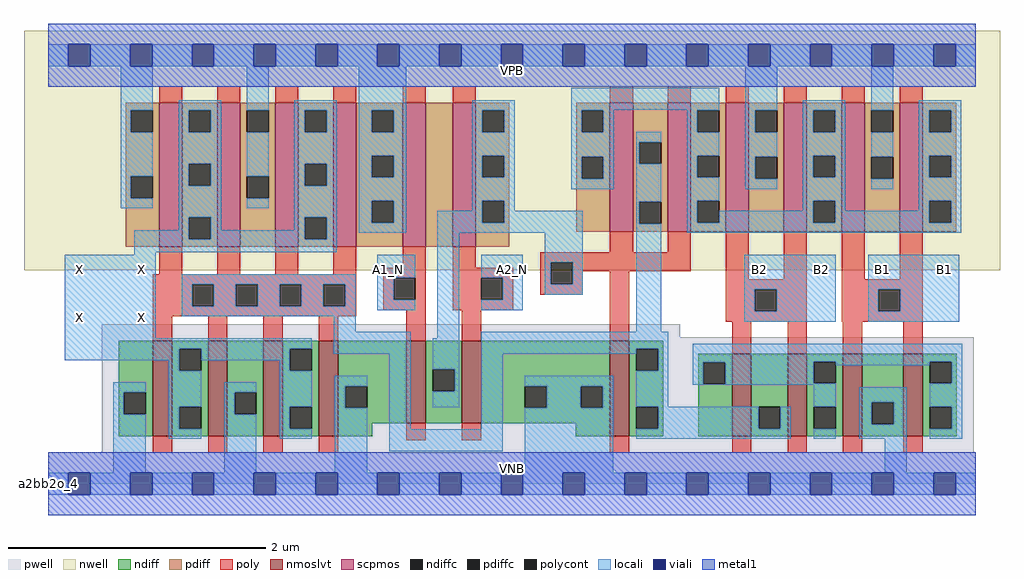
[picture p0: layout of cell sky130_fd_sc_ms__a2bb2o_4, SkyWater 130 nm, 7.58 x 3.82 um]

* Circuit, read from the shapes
.subckt sky130_fd_sc_ms__a2bb2o_4 A1_N A2_N B1 B2 VGND VNB VPB VPWR X
XM1 X n1 VGND VNB sky130_fd_pr__nfet_01v8_lvt w=0.74 l=0.15 m=4
XM2 n2 A1_N VGND VNB sky130_fd_pr__nfet_01v8_lvt w=0.64 l=0.15
XM3 VGND A2_N n2 VNB sky130_fd_pr__nfet_01v8_lvt w=0.64 l=0.15
XM4 n1 n2 VGND VNB sky130_fd_pr__nfet_01v8_lvt w=0.74 l=0.15
XM5 n1 B2 n3 VNB sky130_fd_pr__nfet_01v8_lvt w=0.64 l=0.15 m=2
XM6 VGND B1 n3 VNB sky130_fd_pr__nfet_01v8_lvt w=0.64 l=0.15 m=2
XM7 X n1 VPWR VPB sky130_fd_pr__pfet_01v8 w=1.12 l=0.18 m=4
XM8 n4 A1_N VPWR VPB sky130_fd_pr__pfet_01v8 w=1.12 l=0.18
XM9 n2 A2_N n4 VPB sky130_fd_pr__pfet_01v8 w=1.12 l=0.18
XM10 n1 n2 n5 VPB sky130_fd_pr__pfet_01v8 w=1 l=0.18 m=2
XM11 VPWR B2 n5 VPB sky130_fd_pr__pfet_01v8 w=1 l=0.18 m=2
XM12 VPWR B1 n5 VPB sky130_fd_pr__pfet_01v8 w=1 l=0.18 m=2
.ends

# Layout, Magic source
magic
tech sky130A
magscale 1 2
<< nwell >>
rect -38 332 1478 704
<< pwell >>
rect 83 228 981 248
rect 83 49 1437 228
rect 0 0 1440 49
<< scpmos >>
rect 172 368 208 592
rect 262 368 298 592
rect 352 368 388 592
rect 442 368 478 592
rect 550 368 586 592
rect 628 368 664 592
rect 872 392 908 592
rect 962 392 998 592
rect 1052 392 1088 592
rect 1142 392 1178 592
rect 1232 392 1268 592
rect 1322 392 1358 592
<< nmoslvt >>
rect 162 74 192 222
rect 248 74 278 222
rect 334 74 364 222
rect 420 74 450 222
rect 556 94 586 222
rect 642 94 672 222
rect 872 74 902 222
rect 1062 74 1092 202
rect 1148 74 1178 202
rect 1234 74 1264 202
rect 1328 74 1358 202
<< ndiff >>
rect 109 142 162 222
rect 109 108 117 142
rect 151 108 162 142
rect 109 74 162 108
rect 192 210 248 222
rect 192 176 203 210
rect 237 176 248 210
rect 192 120 248 176
rect 192 86 203 120
rect 237 86 248 120
rect 192 74 248 86
rect 278 142 334 222
rect 278 108 289 142
rect 323 108 334 142
rect 278 74 334 108
rect 364 210 420 222
rect 364 176 375 210
rect 409 176 420 210
rect 364 120 420 176
rect 364 86 375 120
rect 409 86 420 120
rect 364 74 420 86
rect 450 152 556 222
rect 450 118 461 152
rect 495 118 556 152
rect 450 94 556 118
rect 586 178 642 222
rect 586 144 597 178
rect 631 144 642 178
rect 586 94 642 144
rect 672 152 872 222
rect 672 118 740 152
rect 774 118 827 152
rect 861 118 872 152
rect 672 94 872 118
rect 450 74 503 94
rect 819 74 872 94
rect 902 210 955 222
rect 902 176 913 210
rect 947 176 955 210
rect 902 120 955 176
rect 902 86 913 120
rect 947 86 955 120
rect 902 74 955 86
rect 1009 189 1062 202
rect 1009 155 1017 189
rect 1051 155 1062 189
rect 1009 74 1062 155
rect 1092 120 1148 202
rect 1092 86 1103 120
rect 1137 86 1148 120
rect 1092 74 1148 86
rect 1178 190 1234 202
rect 1178 156 1189 190
rect 1223 156 1234 190
rect 1178 120 1234 156
rect 1178 86 1189 120
rect 1223 86 1234 120
rect 1178 74 1234 86
rect 1264 127 1328 202
rect 1264 93 1279 127
rect 1313 93 1328 127
rect 1264 74 1328 93
rect 1358 190 1411 202
rect 1358 156 1369 190
rect 1403 156 1411 190
rect 1358 120 1411 156
rect 1358 86 1369 120
rect 1403 86 1411 120
rect 1358 74 1411 86
<< pdiff >>
rect 120 580 172 592
rect 120 546 128 580
rect 162 546 172 580
rect 120 478 172 546
rect 120 444 128 478
rect 162 444 172 478
rect 120 368 172 444
rect 208 580 262 592
rect 208 546 218 580
rect 252 546 262 580
rect 208 497 262 546
rect 208 463 218 497
rect 252 463 262 497
rect 208 414 262 463
rect 208 380 218 414
rect 252 380 262 414
rect 208 368 262 380
rect 298 580 352 592
rect 298 546 308 580
rect 342 546 352 580
rect 298 478 352 546
rect 298 444 308 478
rect 342 444 352 478
rect 298 368 352 444
rect 388 580 442 592
rect 388 546 398 580
rect 432 546 442 580
rect 388 497 442 546
rect 388 463 398 497
rect 432 463 442 497
rect 388 414 442 463
rect 388 380 398 414
rect 432 380 442 414
rect 388 368 442 380
rect 478 580 550 592
rect 478 546 502 580
rect 536 546 550 580
rect 478 510 550 546
rect 478 476 502 510
rect 536 476 550 510
rect 478 440 550 476
rect 478 406 502 440
rect 536 406 550 440
rect 478 368 550 406
rect 586 368 628 592
rect 664 580 716 592
rect 664 546 674 580
rect 708 546 716 580
rect 664 510 716 546
rect 664 476 674 510
rect 708 476 716 510
rect 664 440 716 476
rect 664 406 674 440
rect 708 406 716 440
rect 664 368 716 406
rect 820 580 872 592
rect 820 546 828 580
rect 862 546 872 580
rect 820 508 872 546
rect 820 474 828 508
rect 862 474 872 508
rect 820 392 872 474
rect 908 531 962 592
rect 908 497 918 531
rect 952 497 962 531
rect 908 438 962 497
rect 908 404 918 438
rect 952 404 962 438
rect 908 392 962 404
rect 998 580 1052 592
rect 998 546 1008 580
rect 1042 546 1052 580
rect 998 510 1052 546
rect 998 476 1008 510
rect 1042 476 1052 510
rect 998 440 1052 476
rect 998 406 1008 440
rect 1042 406 1052 440
rect 998 392 1052 406
rect 1088 580 1142 592
rect 1088 546 1098 580
rect 1132 546 1142 580
rect 1088 508 1142 546
rect 1088 474 1098 508
rect 1132 474 1142 508
rect 1088 392 1142 474
rect 1178 580 1232 592
rect 1178 546 1188 580
rect 1222 546 1232 580
rect 1178 510 1232 546
rect 1178 476 1188 510
rect 1222 476 1232 510
rect 1178 440 1232 476
rect 1178 406 1188 440
rect 1222 406 1232 440
rect 1178 392 1232 406
rect 1268 580 1322 592
rect 1268 546 1278 580
rect 1312 546 1322 580
rect 1268 508 1322 546
rect 1268 474 1278 508
rect 1312 474 1322 508
rect 1268 392 1322 474
rect 1358 580 1410 592
rect 1358 546 1368 580
rect 1402 546 1410 580
rect 1358 510 1410 546
rect 1358 476 1368 510
rect 1402 476 1410 510
rect 1358 440 1410 476
rect 1358 406 1368 440
rect 1402 406 1410 440
rect 1358 392 1410 406
<< ndiffc >>
rect 117 108 151 142
rect 203 176 237 210
rect 203 86 237 120
rect 289 108 323 142
rect 375 176 409 210
rect 375 86 409 120
rect 461 118 495 152
rect 597 144 631 178
rect 740 118 774 152
rect 827 118 861 152
rect 913 176 947 210
rect 913 86 947 120
rect 1017 155 1051 189
rect 1103 86 1137 120
rect 1189 156 1223 190
rect 1189 86 1223 120
rect 1279 93 1313 127
rect 1369 156 1403 190
rect 1369 86 1403 120
<< pdiffc >>
rect 128 546 162 580
rect 128 444 162 478
rect 218 546 252 580
rect 218 463 252 497
rect 218 380 252 414
rect 308 546 342 580
rect 308 444 342 478
rect 398 546 432 580
rect 398 463 432 497
rect 398 380 432 414
rect 502 546 536 580
rect 502 476 536 510
rect 502 406 536 440
rect 674 546 708 580
rect 674 476 708 510
rect 674 406 708 440
rect 828 546 862 580
rect 828 474 862 508
rect 918 497 952 531
rect 918 404 952 438
rect 1008 546 1042 580
rect 1008 476 1042 510
rect 1008 406 1042 440
rect 1098 546 1132 580
rect 1098 474 1132 508
rect 1188 546 1222 580
rect 1188 476 1222 510
rect 1188 406 1222 440
rect 1278 546 1312 580
rect 1278 474 1312 508
rect 1368 546 1402 580
rect 1368 476 1402 510
rect 1368 406 1402 440
<< poly >>
rect 172 592 208 618
rect 262 592 298 618
rect 352 592 388 618
rect 442 592 478 618
rect 550 592 586 618
rect 628 592 664 618
rect 872 592 908 618
rect 962 592 998 618
rect 1052 592 1088 618
rect 1142 592 1178 618
rect 1232 592 1268 618
rect 1322 592 1358 618
rect 172 326 208 368
rect 262 326 298 368
rect 352 326 388 368
rect 442 326 478 368
rect 550 336 586 368
rect 162 310 478 326
rect 162 276 223 310
rect 257 276 291 310
rect 325 276 359 310
rect 393 276 427 310
rect 461 276 478 310
rect 162 260 478 276
rect 520 320 586 336
rect 520 286 536 320
rect 570 286 586 320
rect 520 270 586 286
rect 628 336 664 368
rect 872 360 908 392
rect 962 360 998 392
rect 764 344 998 360
rect 628 320 722 336
rect 628 286 672 320
rect 706 286 722 320
rect 764 310 780 344
rect 814 330 998 344
rect 814 310 830 330
rect 764 294 830 310
rect 628 270 722 286
rect 162 222 192 260
rect 248 222 278 260
rect 334 222 364 260
rect 420 222 450 260
rect 556 222 586 270
rect 642 222 672 270
rect 872 222 902 330
rect 1052 318 1088 392
rect 1142 318 1178 392
rect 1052 302 1178 318
rect 1052 268 1097 302
rect 1131 268 1178 302
rect 1052 252 1178 268
rect 1232 318 1268 392
rect 1322 318 1358 392
rect 1232 302 1358 318
rect 1232 268 1289 302
rect 1323 268 1358 302
rect 1232 252 1358 268
rect 162 48 192 74
rect 248 48 278 74
rect 334 48 364 74
rect 420 48 450 74
rect 556 68 586 94
rect 642 68 672 94
rect 1062 202 1092 252
rect 1148 202 1178 252
rect 1234 202 1264 252
rect 1328 202 1358 252
rect 872 48 902 74
rect 1062 48 1092 74
rect 1148 48 1178 74
rect 1234 48 1264 74
rect 1328 48 1358 74
<< polycont >>
rect 223 276 257 310
rect 291 276 325 310
rect 359 276 393 310
rect 427 276 461 310
rect 536 286 570 320
rect 672 286 706 320
rect 780 310 814 344
rect 1097 268 1131 302
rect 1289 268 1323 302
<< locali >>
rect 0 649 31 683
rect 65 649 127 683
rect 161 649 223 683
rect 257 649 319 683
rect 353 649 415 683
rect 449 649 511 683
rect 545 649 607 683
rect 641 649 703 683
rect 737 649 799 683
rect 833 649 895 683
rect 929 649 991 683
rect 1025 649 1087 683
rect 1121 649 1183 683
rect 1217 649 1279 683
rect 1313 649 1375 683
rect 1409 649 1440 683
rect 112 580 162 649
rect 112 546 128 580
rect 112 478 162 546
rect 112 444 128 478
rect 112 428 162 444
rect 202 580 268 596
rect 202 546 218 580
rect 252 546 268 580
rect 202 497 268 546
rect 202 463 218 497
rect 252 463 268 497
rect 202 414 268 463
rect 308 580 342 649
rect 308 478 342 546
rect 308 428 342 444
rect 382 580 448 596
rect 382 546 398 580
rect 432 546 448 580
rect 382 497 448 546
rect 382 463 398 497
rect 432 463 448 497
rect 202 394 218 414
rect 133 380 218 394
rect 252 394 268 414
rect 382 414 448 463
rect 382 394 398 414
rect 252 380 398 394
rect 432 380 448 414
rect 482 580 556 649
rect 482 546 502 580
rect 536 546 556 580
rect 482 510 556 546
rect 482 476 502 510
rect 536 476 556 510
rect 482 440 556 476
rect 482 406 502 440
rect 536 406 556 440
rect 658 580 724 596
rect 658 546 674 580
rect 708 546 724 580
rect 658 510 724 546
rect 658 476 674 510
rect 708 476 724 510
rect 658 440 724 476
rect 812 581 1042 615
rect 812 580 878 581
rect 812 546 828 580
rect 862 546 878 580
rect 992 580 1042 581
rect 812 508 878 546
rect 812 474 828 508
rect 862 474 878 508
rect 812 458 878 474
rect 913 531 952 547
rect 913 497 918 531
rect 658 424 674 440
rect 482 390 556 406
rect 604 406 674 424
rect 708 424 724 440
rect 913 438 952 497
rect 708 406 830 424
rect 604 390 830 406
rect 133 360 448 380
rect 133 356 167 360
rect 25 226 167 356
rect 207 310 477 326
rect 207 276 223 310
rect 257 276 291 310
rect 325 276 359 310
rect 393 276 427 310
rect 461 276 477 310
rect 207 260 477 276
rect 511 320 570 356
rect 511 286 536 320
rect 511 270 570 286
rect 443 236 477 260
rect 25 210 409 226
rect 25 192 203 210
rect 187 176 203 192
rect 237 192 375 210
rect 101 142 151 158
rect 101 108 117 142
rect 101 17 151 108
rect 187 120 237 176
rect 359 176 375 192
rect 443 202 563 236
rect 604 226 638 390
rect 672 320 737 356
rect 706 286 737 320
rect 771 344 830 390
rect 771 310 780 344
rect 814 310 830 344
rect 771 294 830 310
rect 913 404 918 438
rect 672 270 737 286
rect 913 236 952 404
rect 992 546 1008 580
rect 992 510 1042 546
rect 992 476 1008 510
rect 992 440 1042 476
rect 1082 580 1132 649
rect 1082 546 1098 580
rect 1082 508 1132 546
rect 1082 474 1098 508
rect 1082 458 1132 474
rect 1172 580 1238 596
rect 1172 546 1188 580
rect 1222 546 1238 580
rect 1172 510 1238 546
rect 1172 476 1188 510
rect 1222 476 1238 510
rect 992 406 1008 440
rect 1172 440 1238 476
rect 1278 580 1312 649
rect 1278 508 1312 546
rect 1278 458 1312 474
rect 1352 580 1418 596
rect 1352 546 1368 580
rect 1402 546 1418 580
rect 1352 510 1418 546
rect 1352 476 1368 510
rect 1402 476 1418 510
rect 1172 424 1188 440
rect 1042 406 1188 424
rect 1222 424 1238 440
rect 1352 440 1418 476
rect 1352 424 1368 440
rect 1222 406 1368 424
rect 1402 406 1418 440
rect 992 390 1418 406
rect 1081 302 1223 356
rect 1081 268 1097 302
rect 1131 268 1223 302
rect 1081 252 1223 268
rect 1273 302 1415 356
rect 1273 268 1289 302
rect 1323 268 1415 302
rect 1273 252 1415 268
rect 187 86 203 120
rect 187 70 237 86
rect 273 142 323 158
rect 273 108 289 142
rect 273 17 323 108
rect 359 120 409 176
rect 359 86 375 120
rect 359 70 409 86
rect 445 152 495 168
rect 445 118 461 152
rect 445 17 495 118
rect 529 85 563 202
rect 597 178 638 226
rect 631 144 638 178
rect 597 119 638 144
rect 672 210 963 236
rect 672 202 913 210
rect 672 85 706 202
rect 947 176 963 210
rect 529 51 706 85
rect 740 152 877 168
rect 774 118 827 152
rect 861 118 877 152
rect 740 17 877 118
rect 913 120 963 176
rect 1001 190 1419 218
rect 1001 189 1189 190
rect 1001 155 1017 189
rect 1051 156 1189 189
rect 1223 184 1369 190
rect 1051 155 1223 156
rect 1001 154 1223 155
rect 1189 120 1223 154
rect 1403 156 1419 190
rect 947 86 1103 120
rect 1137 86 1153 120
rect 913 70 1153 86
rect 1189 70 1223 86
rect 1259 127 1333 150
rect 1259 93 1279 127
rect 1313 93 1333 127
rect 1259 70 1333 93
rect 1369 120 1419 156
rect 1403 86 1419 120
rect 1369 70 1419 86
rect 1299 17 1333 70
rect 0 -17 31 17
rect 65 -17 127 17
rect 161 -17 223 17
rect 257 -17 319 17
rect 353 -17 415 17
rect 449 -17 511 17
rect 545 -17 607 17
rect 641 -17 703 17
rect 737 -17 799 17
rect 833 -17 895 17
rect 929 -17 991 17
rect 1025 -17 1087 17
rect 1121 -17 1183 17
rect 1217 -17 1279 17
rect 1313 -17 1375 17
rect 1409 -17 1440 17
<< viali >>
rect 31 649 65 683
rect 127 649 161 683
rect 223 649 257 683
rect 319 649 353 683
rect 415 649 449 683
rect 511 649 545 683
rect 607 649 641 683
rect 703 649 737 683
rect 799 649 833 683
rect 895 649 929 683
rect 991 649 1025 683
rect 1087 649 1121 683
rect 1183 649 1217 683
rect 1279 649 1313 683
rect 1375 649 1409 683
rect 31 -17 65 17
rect 127 -17 161 17
rect 223 -17 257 17
rect 319 -17 353 17
rect 415 -17 449 17
rect 511 -17 545 17
rect 607 -17 641 17
rect 703 -17 737 17
rect 799 -17 833 17
rect 895 -17 929 17
rect 991 -17 1025 17
rect 1087 -17 1121 17
rect 1183 -17 1217 17
rect 1279 -17 1313 17
rect 1375 -17 1409 17
<< metal1 >>
rect 0 683 1440 715
rect 0 649 31 683
rect 65 649 127 683
rect 161 649 223 683
rect 257 649 319 683
rect 353 649 415 683
rect 449 649 511 683
rect 545 649 607 683
rect 641 649 703 683
rect 737 649 799 683
rect 833 649 895 683
rect 929 649 991 683
rect 1025 649 1087 683
rect 1121 649 1183 683
rect 1217 649 1279 683
rect 1313 649 1375 683
rect 1409 649 1440 683
rect 0 617 1440 649
rect 0 17 1440 49
rect 0 -17 31 17
rect 65 -17 127 17
rect 161 -17 223 17
rect 257 -17 319 17
rect 353 -17 415 17
rect 449 -17 511 17
rect 545 -17 607 17
rect 641 -17 703 17
rect 737 -17 799 17
rect 833 -17 895 17
rect 929 -17 991 17
rect 1025 -17 1087 17
rect 1121 -17 1183 17
rect 1217 -17 1279 17
rect 1313 -17 1375 17
rect 1409 -17 1440 17
rect 0 -49 1440 -17
<< labels >>
flabel pwell s 0 0 1440 49 0 FreeSans 200 0 0 0 VNB
port 6 nsew ground bidirectional
flabel nwell s 0 617 1440 666 0 FreeSans 200 0 0 0 VPB
port 7 nsew power bidirectional
rlabel comment s 0 0 0 0 4 a2bb2o_4
flabel metal1 s 0 617 1440 666 0 FreeSans 340 0 0 0 VPWR
port 8 nsew power bidirectional
flabel metal1 s 0 0 1440 49 0 FreeSans 340 0 0 0 VGND
port 5 nsew ground bidirectional
flabel locali s 31 242 65 276 0 FreeSans 340 0 0 0 X
port 9 nsew signal output
flabel locali s 31 316 65 350 0 FreeSans 340 0 0 0 X
port 9 nsew signal output
flabel locali s 127 242 161 276 0 FreeSans 340 0 0 0 X
port 9 nsew signal output
flabel locali s 127 316 161 350 0 FreeSans 340 0 0 0 X
port 9 nsew signal output
flabel locali s 1087 316 1121 350 0 FreeSans 340 0 0 0 B2
port 4 nsew signal input
flabel locali s 1183 316 1217 350 0 FreeSans 340 0 0 0 B2
port 4 nsew signal input
flabel locali s 1279 316 1313 350 0 FreeSans 340 0 0 0 B1
port 3 nsew signal input
flabel locali s 1375 316 1409 350 0 FreeSans 340 0 0 0 B1
port 3 nsew signal input
flabel locali s 703 316 737 350 0 FreeSans 340 0 0 0 A2_N
port 2 nsew signal input
flabel locali s 511 316 545 350 0 FreeSans 340 0 0 0 A1_N
port 1 nsew signal input
<< properties >>
string LEFsite unit
string LEFclass CORE
string FIXED_BBOX 0 0 1440 666
string GDS_FILE $PDKPATH/libs.ref/sky130_fd_sc_ms/gds/sky130_fd_sc_ms.gds
string LEFsymmetry X Y
string GDS_END 3080740
string GDS_START 3069574
<< end >>
